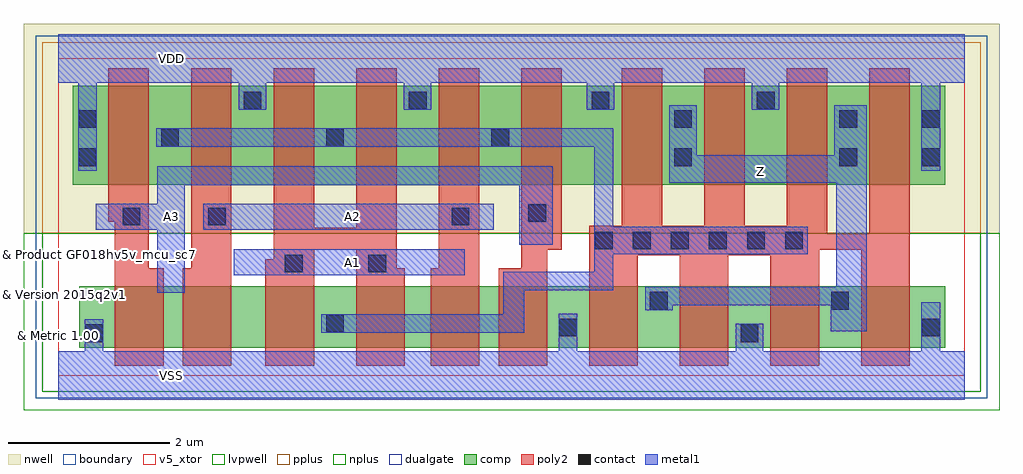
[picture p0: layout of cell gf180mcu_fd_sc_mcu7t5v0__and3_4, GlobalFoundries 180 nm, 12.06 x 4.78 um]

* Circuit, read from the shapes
.subckt gf180mcu_fd_sc_mcu7t5v0__and3_4 A1 A2 A3 VDD VSS Z
XM1 n1 A3 VSS VSUBS nfet_05v0 w=0.76u l=0.6u
XM2 n2 A2 n1 VSUBS nfet_05v0 w=0.76u l=0.6u
XM3 n3 A1 n2 VSUBS nfet_05v0 w=0.76u l=0.6u
XM4 n4 A1 n3 VSUBS nfet_05v0 w=0.76u l=0.6u
XM5 n5 A2 n4 VSUBS nfet_05v0 w=0.76u l=0.6u
XM6 VSS A3 n5 VSUBS nfet_05v0 w=0.76u l=0.6u
XM7 Z n3 VSS VSUBS nfet_05v0 w=0.76u l=0.6u m=4
XM8 n3 A3 VDD n6 pfet_05v0 w=1.22u l=0.5u m=2
XM9 VDD A2 n3 n6 pfet_05v0 w=1.22u l=0.5u m=2
XM10 n3 A1 VDD n6 pfet_05v0 w=1.22u l=0.5u m=2
XM11 Z n3 VDD n6 pfet_05v0 w=1.22u l=0.5u m=4
.ends

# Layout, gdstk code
import gdstk
lib = gdstk.Library(unit=1e-6, precision=1e-09)
def R(c, l, rs):  # rectangles x0, y0, x1, y1
    for r in rs: c.add(gdstk.rectangle(r[:2], r[2:], *l))
def A(c, l, x, y, w, h, nx, ny, dx, dy):  # array of equal rectangles
    R(c, l, [(x+i*dx, y+j*dy, x+i*dx+w, y+j*dy+h) for i in range(nx) for j in range(ny)])
def P(c, l, *ps):  # polygons
    for p in ps: c.add(gdstk.Polygon(p, *l))
boundary = (0, 0)
nwell = (21, 0)
comp = (22, 0)
poly2 = (30, 0)
pplus = (31, 0)
nplus = (32, 0)
contact = (33, 0)
metal1 = (34, 0)
dualgate = (55, 0)
v5_xtor = (112, 1)
lvpwell = (204, 0)

gf180mcu_fd_sc_mcu7t5v0_ = lib.new_cell('gf180mcu_fd_sc_mcu7t5v0__and3_4')
R(gf180mcu_fd_sc_mcu7t5v0_, boundary, [(0,0,11.2,3.92)])
R(gf180mcu_fd_sc_mcu7t5v0_, nwell, [(-0.43,1.76,11.63,4.35)])
R(gf180mcu_fd_sc_mcu7t5v0_, comp, [(0.26,0.345,10.96,1.105), (0.18,2.36,10.96,3.58)])
P(gf180mcu_fd_sc_mcu7t5v0_, poly2, [(0.7,0.12),(0.7,1.9),(0.62,1.9),(0.62,3.8),(1.12,3.8),(1.12,1.325),(1.3,1.325),(1.3,0.12)],
  [(1.54,0.12),(1.54,1.325),(1.64,1.325),(1.64,3.8),(2.14,3.8),(2.14,0.12)],
  [(2.56,0.12),(2.56,1.44),(2.66,1.44),(2.66,3.8),(3.16,3.8),(3.16,1.825),(3.68,1.825),(3.68,3.8),(4.18,3.8),(4.18,1.325),(4.28,1.325),(4.28,0.12),(3.68,0.12),(3.68,1.555),(3.16,1.555),(3.16,0.12)],
  [(4.6,0.12),(4.6,1.325),(4.7,1.325),(4.7,3.8),(5.2,3.8),(5.2,0.12)],
  [(5.44,0.12),(5.44,1.325),(5.72,1.325),(5.72,3.8),(6.22,3.8),(6.22,1.555),(6.04,1.555),(6.04,0.12)],
  [(6.56,0.12),(6.56,1.85),(6.96,1.85),(6.96,3.8),(7.46,3.8),(7.46,1.85),(7.98,1.85),(7.98,3.8),(8.48,3.8),(8.48,1.85),(9,1.85),(9,3.8),(9.5,3.8),(9.5,1.755),(10.02,1.755),(10.02,3.8),(10.52,3.8),(10.52,0.12),(9.92,0.12),(9.92,1.555),(9.4,1.555),(9.4,0.12),(8.8,0.12),(8.8,1.49),(8.28,1.49),(8.28,0.12),(7.68,0.12),(7.68,1.49),(7.16,1.49),(7.16,0.12)])
R(gf180mcu_fd_sc_mcu7t5v0_, pplus, [(-0.2,1.76,11.4,4.12)])
R(gf180mcu_fd_sc_mcu7t5v0_, nplus, [(-0.2,-0.2,11.4,1.76)])
A(gf180mcu_fd_sc_mcu7t5v0_, contact, 6.63, 1.56, 0.22, 0.22, 6, 1, 0.47, 0)
A(gf180mcu_fd_sc_mcu7t5v0_, contact, 1.27, 2.83, 0.22, 0.22, 3, 1, 2.04, 0)
R(gf180mcu_fd_sc_mcu7t5v0_, contact, [(0.33,0.415,0.55,0.635), (8.43,0.415,8.65,0.635), (6.19,0.485,6.41,0.705), (10.67,0.485,10.89,0.705), (3.31,0.535,3.53,0.755), (7.31,0.815,7.53,1.035), (9.55,0.815,9.77,1.035), (2.8,1.275,3.02,1.495), (3.83,1.275,4.05,1.495), (0.795,1.855,1.015,2.075), (1.85,1.855,2.07,2.075), (4.86,1.855,5.08,2.075), (5.81,1.9,6.03,2.12), (0.25,2.59,0.47,2.81), (7.61,2.59,7.83,2.81), (9.65,2.59,9.87,2.81), (10.67,2.59,10.89,2.81), (0.25,3.06,0.47,3.28), (7.61,3.06,7.83,3.28), (9.65,3.06,9.87,3.28), (10.67,3.06,10.89,3.28), (2.29,3.29,2.51,3.51), (4.33,3.29,4.55,3.51), (6.59,3.29,6.81,3.51), (8.63,3.29,8.85,3.51)])
R(gf180mcu_fd_sc_mcu7t5v0_, metal1, [(2.165,1.24,5.025,1.56), (1.79,1.8,5.38,2.125)])
P(gf180mcu_fd_sc_mcu7t5v0_, metal1, [(1.22,1.025),(1.22,1.8),(0.465,1.8),(0.465,2.125),(1.22,2.125),(1.22,2.585),(6.11,2.585),(6.11,1.62),(5.695,1.62),(5.695,2.355),(1.56,2.355),(1.56,1.025)],
  [(3.25,0.53),(3.25,0.76),(5.5,0.76),(5.5,1.285),(6.625,1.285),(6.625,2.825),(1.21,2.825),(1.21,3.055),(6.855,3.055),(6.855,1.84),(9.26,1.84),(9.26,1.5),(6.855,1.5),(6.855,1.055),(5.755,1.055),(5.755,0.53)],
  [(9.545,0.55),(9.545,0.87),(7.59,0.87),(7.59,0.81),(7.25,0.81),(7.25,1.1),(9.61,1.1),(9.61,2.385),(7.55,2.385),(7.55,3.34),(7.89,3.34),(7.89,2.725),(9.59,2.725),(9.59,3.34),(9.99,3.34),(9.99,0.55)],
  [(0,-0.3),(0,0.3),(0.325,0.3),(0.325,0.695),(0.555,0.695),(0.555,0.3),(6.185,0.3),(6.185,0.765),(6.415,0.765),(6.415,0.3),(8.37,0.3),(8.37,0.64),(8.71,0.64),(8.71,0.3),(10.665,0.3),(10.665,0.905),(10.895,0.905),(10.895,0.3),(11.2,0.3),(11.2,-0.3)],
  [(0.245,2.53),(0.245,3.62),(0,3.62),(0,4.22),(11.2,4.22),(11.2,3.62),(10.895,3.62),(10.895,2.53),(10.665,2.53),(10.665,3.62),(8.91,3.62),(8.91,3.285),(8.57,3.285),(8.57,3.62),(6.87,3.62),(6.87,3.285),(6.53,3.285),(6.53,3.62),(4.61,3.62),(4.61,3.285),(4.27,3.285),(4.27,3.62),(2.57,3.62),(2.57,3.285),(2.23,3.285),(2.23,3.62),(0.475,3.62),(0.475,2.53)])
R(gf180mcu_fd_sc_mcu7t5v0_, dualgate, [(-0.28,-0.28,11.48,4.2)])
R(gf180mcu_fd_sc_mcu7t5v0_, v5_xtor, [(0,0,11.2,3.92)])
R(gf180mcu_fd_sc_mcu7t5v0_, lvpwell, [(-0.43,-0.43,11.63,1.76)])
gf180mcu_fd_sc_mcu7t5v0_.add(gdstk.Label('A2', (3.64,1.96), layer=34, texttype=10))
gf180mcu_fd_sc_mcu7t5v0_.add(gdstk.Label('A3', (1.4,1.96), layer=34, texttype=10))
gf180mcu_fd_sc_mcu7t5v0_.add(gdstk.Label('VDD', (1.4,3.92), layer=34, texttype=10))
gf180mcu_fd_sc_mcu7t5v0_.add(gdstk.Label('VSS', (1.4,0), layer=34, texttype=10))
gf180mcu_fd_sc_mcu7t5v0_.add(gdstk.Label('Z', (8.68,2.52), layer=34, texttype=10))
gf180mcu_fd_sc_mcu7t5v0_.add(gdstk.Label('A1', (3.64,1.4), layer=34, texttype=10))
gf180mcu_fd_sc_mcu7t5v0_.add(gdstk.Label('& Vendor GLOBALFOUNDRIES', (0,2), layer=63, texttype=63))
gf180mcu_fd_sc_mcu7t5v0_.add(gdstk.Label('& Product GF018hv5v_mcu_sc7', (0,1.5), layer=63, texttype=63))
gf180mcu_fd_sc_mcu7t5v0_.add(gdstk.Label('& Version 2015q2v1', (0,1), layer=63, texttype=63))
gf180mcu_fd_sc_mcu7t5v0_.add(gdstk.Label('& Metric 1.00', (0,0.5), layer=63, texttype=63))

lib.write_gds('gf180mcu_fd_sc_mcu7t5v0__and3_4.gds')
